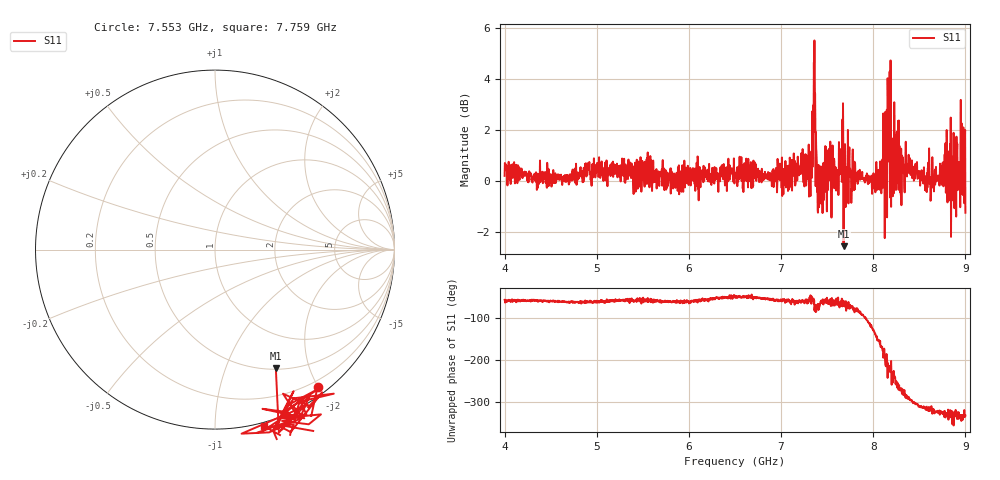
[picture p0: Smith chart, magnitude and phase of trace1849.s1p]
! Created with skrf 1.8.0 (http://scikit-rf.org).
# Hz S RI R 50.0
!freq ReS11 ImS11
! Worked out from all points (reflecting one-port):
!   1601 points, 4 GHz to 9 GHz, reference 50 ohm
!   lowest |S11| = -2.6 dB at 7.678 GHz (marker M1), VSWR 6.81, Z = 25.5 - j75.6 ohm
!   phase of S11 starts at -56 deg and turns -275 deg over the sweep
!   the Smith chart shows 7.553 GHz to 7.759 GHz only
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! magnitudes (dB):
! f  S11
! 4 GHz  0.2
! 4.625 GHz  -0.2
! 5.25 GHz  0.1
! 5.875 GHz  0.1
! 6.5 GHz  0.3
! 7.125 GHz  0.7
! 7.309 GHz  1.2
! 7.347 GHz  2.8
! 7.362 GHz  5.5
! 7.397 GHz  -1.1
! 7.422 GHz  -0.2
! 7.509 GHz  -0.4
! 7.6 GHz  -0.3
! 7.65 GHz  1.2
! 7.678 GHz  -2.6
! 7.75 GHz  0.5
! 8.066 GHz  0.3
! 8.128 GHz  1.2
! 8.162 GHz  0.8
! 8.216 GHz  1.3
! 8.253 GHz  1.6
! 8.316 GHz  0.6
! 8.375 GHz  0.6
! 8.562 GHz  -0.4
! 8.775 GHz  1.0
! 8.831 GHz  -0.2
! 8.972 GHz  0.4
! 9 GHz  -1.3
